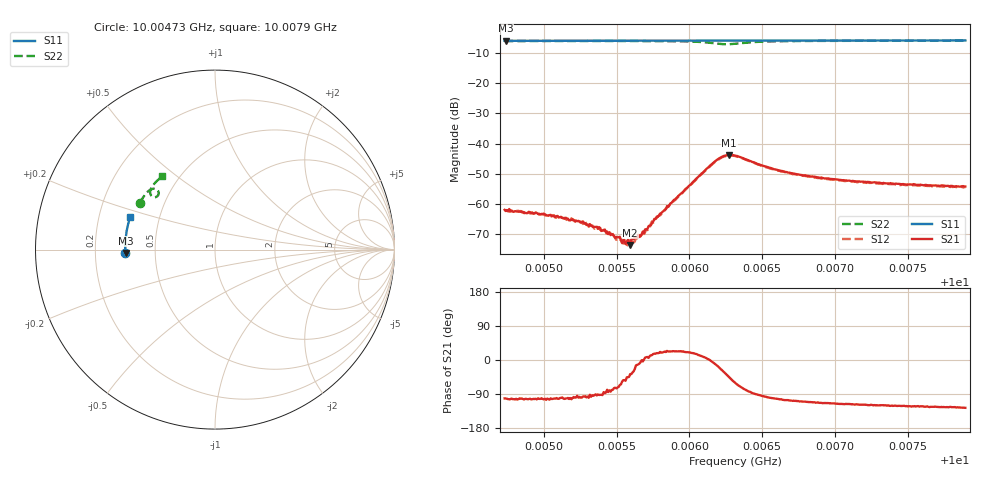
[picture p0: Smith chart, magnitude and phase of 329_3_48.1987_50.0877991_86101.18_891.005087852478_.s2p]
#  HZ  S  RI  R  50.00
! Rohde & Schwarz Vector Network Analyzer
! Rohde-Schwarz,ZNB20-2Port,1311601062101988,3.16
! Created: UTC 3/20/2024, 11:50:49 AM
! freq[Hz]  re:S11  im:S11  re:S21  im:S21  re:S12  im:S12  re:S22  im:S22
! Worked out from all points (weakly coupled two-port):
!   401 points, 10.00473 GHz to 10.0079 GHz, reference 50 ohm
!   highest |S21| = -43.70 dB at 10.00627 GHz (marker M1); lowest = -73.5 dB at 10.00559 GHz (marker M2)
!   lowest |S11| = -6.0 dB at 10.00474 GHz (marker M3), VSWR 2.99, Z = 16.7 - j0.844 ohm
!   |S11| at or under -10 dB: nowhere
!   |S22| runs from -7.2 to -6.0 dB; largest |S21 - S12| = 0.00036
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1.0004732e10  -0.4988 -0.0196  -0.00016 -0.000792  -0.000138 -0.000773  -0.4182 0.2619
1.000474e10  -0.4986 -0.019  -0.000155 -0.000755  -0.00014 -0.00078  -0.4179 0.2625
1.0005001e10  -0.4997 -0.00204  -0.000168 -0.000678  -0.000115 -0.000675  -0.4089 0.278
1.0005262e10  -0.5 0.0149  -7.91e-05 -0.000491  -4.5e-05 -0.00051  -0.3988 0.2935
1.0005372e10  -0.4999 0.022  -5.68e-06 -0.000395  7.17e-07 -0.000391  -0.3939 0.3002
1.0005467e10  -0.4997 0.0282  6.09e-05 -0.000312  5.04e-05 -0.000357  -0.3896 0.306
1.0005491e10  -0.4998 0.0298  8.16e-05 -0.000267  0.000131 -0.000243  -0.3885 0.3074
1.0005546e10  -0.4995 0.0333  0.000153 -0.000205  0.00013 -0.000184  -0.3857 0.3108
1.0005562e10  -0.4995 0.0343  0.000127 -0.000181  0.000132 -0.000187  -0.385 0.3118
1.0005578e10  -0.4997 0.0354  0.000182 -0.000184  0.00017 -0.000162  -0.384 0.3127
1.0005594e10  -0.4996 0.0366  0.000169 -0.000129  0.000228 -0.000136  -0.3831 0.3137
1.0005625e10  -0.4992 0.0385  0.000261 -0.000115  0.000225 -9.01e-05  -0.3815 0.3157
1.0005673e10  -0.4994 0.0416  0.00032 -3.24e-06  0.000313 -1.39e-05  -0.3787 0.3187
1.0005792e10  -0.4987 0.0494  0.00062 0.000209  0.000609 0.000227  -0.3708 0.3263
1.0006163e10  -0.4962 0.0732  0.00477 -0.000524  0.0047 -0.000307  -0.318 0.3281
1.0006219e10  -0.4955 0.0766  0.00542 -0.00248  0.00541 -0.00219  -0.3142 0.3108
1.0006274e10  -0.4951 0.0799  0.00454 -0.0047  0.00462 -0.00437  -0.3251 0.2949
1.0006314e10  -0.4949 0.0822  0.00319 -0.00549  0.00341 -0.00523  -0.3381 0.2918
1.000659e10  -0.4927 0.0999  -0.000757 -0.00367  -0.000603 -0.00364  -0.3597 0.3315
1.0006844e10  -0.4897 0.1161  -0.00106 -0.00267  -0.000908 -0.00265  -0.3486 0.3533
1.0007373e10  -0.4817 0.1494  -0.00113 -0.00188  -0.001 -0.0019  -0.3225 0.3836
1.0007895e10  -0.4719 0.1816  -0.00116 -0.00158  -0.00105 -0.0016  -0.296 0.4074
